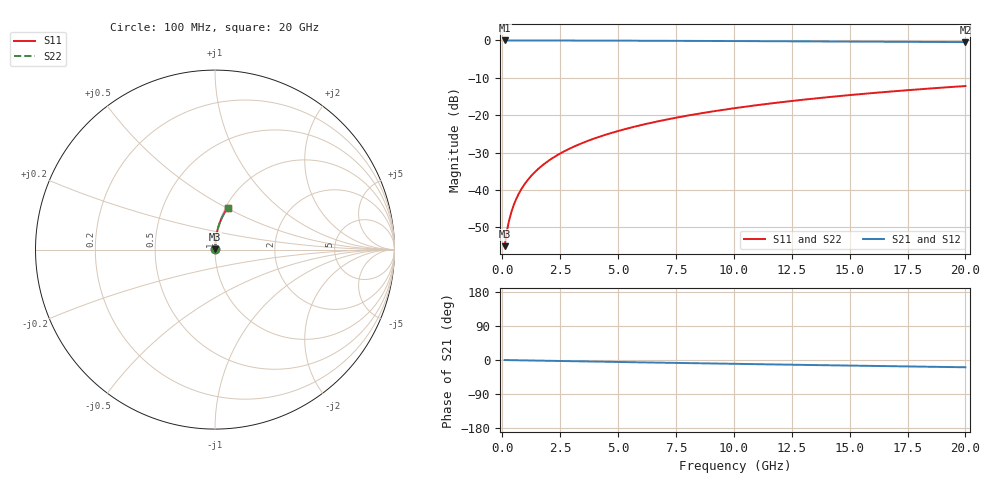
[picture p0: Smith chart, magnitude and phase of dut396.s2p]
! Touchstone file exported from HFSS 2024.1.0
!  File:  C:/UserFiles/LocalFiles/RDL_TSV_Batchsim/temp_RDL_top_396_1779610006.aedt
!  Generated:  04:09:07 PM May 24, 2026
!  Design:  RDL_top
!  Project:  temp_RDL_top_396_1779610006
!  Setup:  Setup1
!  Solution:  Sweep
! Variables:
!  dtsv = 10.80580581um
!  hbump = 3um
!  htsv = 99.39um
!  ldown = 100um
!  lrdl = 207.57um
!  p = 40
!  p1 = 54.27um
!  rhole = 1um
!  t = 450um
!  tdown = 3.915915916um
!  trdl = 4.8um
!  wdown = 15.38538539um
!  wrdl = 13.76um
# GHz S MA R 50.000000
! Terminal data exported
! Port[1] = Box2_T1
! Port[2] = Box2_T2
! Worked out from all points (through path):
!   200 points, 100 MHz to 20 GHz, reference 50 ohm
!   highest |S21| = -0.01 dB at 100 MHz (marker M1); lowest = -0.5 dB at 20 GHz (marker M2)
!   group delay of S21, straight-line fit = 2.66 ps
!   lowest |S11| = -55.1 dB at 100 MHz (marker M3), VSWR 1.00, Z = 50.1 + j0.127 ohm
!   |S11| at or under -10 dB: start of sweep to end of sweep
!   |S22| runs from -55.1 to -12.2 dB; largest |S21 - S12| = 3.4e-15
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0.1  0.001764 45.8  0.9988 -0.1  0.9988 -0.1  0.001764 45.8
! Gamma 0 0 0 0
! Port Impedance 50 0 50 0
0.2  0.002814 63.4  0.9987 -0.2  0.9987 -0.2  0.002814 63.4
0.3  0.003967 70.9  0.9987 -0.3  0.9987 -0.3  0.003967 70.9
0.4  0.005146 75.0  0.9986 -0.4  0.9986 -0.4  0.005146 75.0
0.5  0.006338 77.6  0.9986 -0.5  0.9986 -0.5  0.006338 77.6
0.7  0.008739 80.6  0.9985 -0.8  0.9985 -0.8  0.008739 80.6
0.8  0.009946 81.6  0.9985 -0.9  0.9985 -0.9  0.009946 81.6
1  0.01237 83.0  0.9983 -1.1  0.9983 -1.1  0.01237 83.0
1.2  0.0148 83.8  0.9982 -1.3  0.9982 -1.3  0.0148 83.8
1.4  0.01723 84.4  0.9981 -1.5  0.9981 -1.5  0.01723 84.4
1.7  0.02089 85.0  0.9978 -1.8  0.9978 -1.8  0.02089 85.0
2  0.02455 85.3  0.9975 -2.1  0.9975 -2.1  0.02455 85.3
2.7  0.0331 85.7  0.9967 -2.9  0.9967 -2.9  0.0331 85.7
3.5  0.04289 85.6  0.9955 -3.7  0.9955 -3.7  0.04289 85.6
4.2  0.05148 85.5  0.9943 -4.4  0.9943 -4.4  0.05148 85.5
5  0.06132 85.1  0.9928 -5.2  0.9928 -5.2  0.06132 85.1
6.8  0.0836 84.1  0.9888 -7.0  0.9888 -7.0  0.0836 84.1
8.3  0.1023 83.1  0.9851 -8.5  0.9851 -8.5  0.1023 83.1
10.1  0.1248 81.7  0.9803 -10.2  0.9803 -10.2  0.1248 81.7
13.4  0.1659 78.9  0.9707 -13.3  0.9707 -13.3  0.1659 78.9
16.7  0.2061 76.0  0.9603 -16.3  0.9603 -16.3  0.2061 76.0
20  0.2452 73.0  0.949 -19.2  0.949 -19.2  0.2452 73.0
